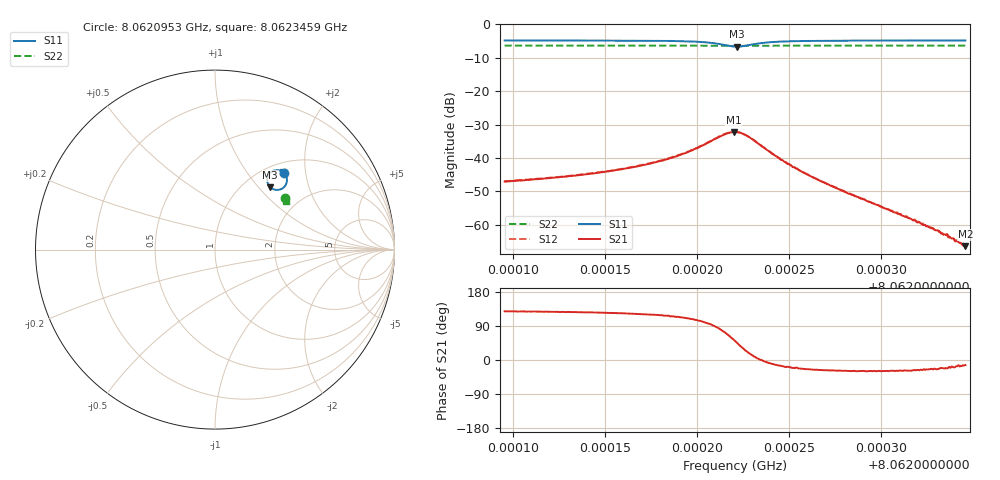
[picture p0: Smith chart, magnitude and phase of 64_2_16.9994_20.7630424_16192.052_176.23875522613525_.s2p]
#  HZ  S  RI  R  50.00
! Rohde & Schwarz Vector Network Analyzer
! Rohde-Schwarz,ZNB20-2Port,1311601062101988,3.16
! Created: UTC 3/20/2024, 10:54:56 PM
! freq[Hz]  re:S11  im:S11  re:S21  im:S21  re:S12  im:S12  re:S22  im:S22
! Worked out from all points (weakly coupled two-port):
!   401 points, 8.0620953 GHz to 8.0623459 GHz, reference 50 ohm
!   highest |S21| = -32.20 dB at 8.06222 GHz (marker M1); lowest = -66.4 dB at 8.0623459 GHz (marker M2)
!   lowest |S11| = -6.7 dB at 8.0622218 GHz (marker M3), VSWR 2.73, Z = 65.4 + j57.9 ohm
!   |S11| at or under -10 dB: nowhere
!   |S22| runs from -6.4 to -6.3 dB; largest |S21 - S12| = 0.0019
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8.06209528e9  0.3837 0.4285  -0.00276 0.00346  -0.00259 0.0037  0.3887 0.2847
8.06211658e9  0.3864 0.4258  -0.00296 0.00391  -0.00277 0.00414  0.3894 0.2836
8.06213726e9  0.3893 0.4222  -0.00331 0.00452  -0.00306 0.00478  0.3902 0.2826
8.06215982e9  0.3935 0.416  -0.00376 0.00574  -0.00343 0.006  0.3909 0.2812
8.06217924e9  0.3981 0.4057  -0.00421 0.00783  -0.00382 0.00817  0.3917 0.28
8.06218801e9  0.4003 0.3977  -0.00428 0.00949  -0.00378 0.00996  0.3919 0.279
8.06219491e9  0.4012 0.3882  -0.00419 0.0116  -0.0035 0.0119  0.3919 0.2781
8.06220681e9  0.3935 0.3592  -0.00158 0.0174  -0.000346 0.0177  0.3916 0.2766
8.06221496e9  0.3602 0.3341  0.00646 0.0216  0.00815 0.0214  0.39 0.2756
8.06221997e9  0.3213 0.338  0.0148 0.0196  0.0163 0.0185  0.3886 0.2764
8.0622206e9  0.3164 0.3409  0.0156 0.0188  0.0171 0.0178  0.3884 0.2764
8.06222185e9  0.3077 0.3476  0.0174 0.0171  0.0186 0.0158  0.3882 0.2769
8.06222436e9  0.2955 0.3654  0.0196 0.0128  0.0204 0.0115  0.3881 0.2776
8.06222749e9  0.2908 0.3894  0.0199 0.00749  0.0203 0.00621  0.3882 0.2787
8.06223626e9  0.3112 0.4301  0.0143 -0.000825  0.0142 -0.00169  0.3901 0.2796
8.06224817e9  0.3385 0.4421  0.0082 -0.00275  0.00801 -0.00307  0.3917 0.2791
8.06226258e9  0.3552 0.4419  0.00473 -0.00221  0.00457 -0.00248  0.393 0.2781
8.06228137e9  0.3661 0.4389  0.00264 -0.00145  0.00259 -0.00166  0.3939 0.2771
8.06230456e9  0.3734 0.4358  0.00146 -0.0008  0.00143 -0.000872  0.3949 0.2756
8.06231772e9  0.3761 0.4341  0.00103 -0.000527  0.001 -0.000614  0.3955 0.275
8.06233087e9  0.3783 0.4328  0.000755 -0.000334  0.000732 -0.000362  0.396 0.2743
8.06234591e9  0.3804 0.4313  0.000466 -0.000109  0.000467 -0.000147  0.3965 0.2733
